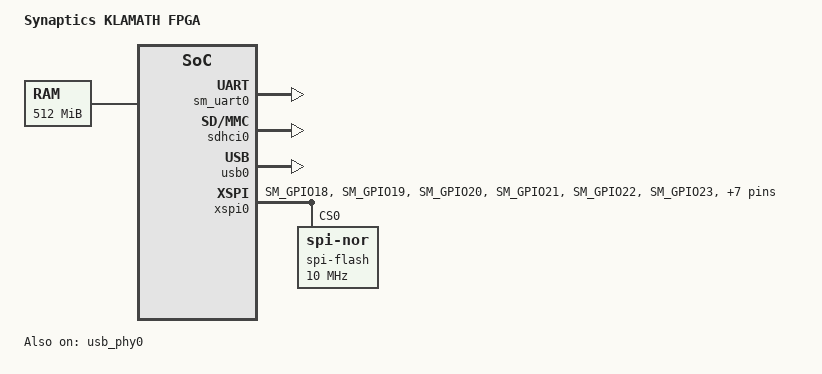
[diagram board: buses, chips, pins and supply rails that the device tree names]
// SPDX-License-Identifier: GPL-2.0+
/*
 * Copyright (C) 2016~2023 Synaptics Incorporated. All rights reserved.
 *
 * This program is free software; you can redistribute it and/or modify
 * it under the terms of the GNU General Public License version 2 or
 * later as published by the Free Software Foundation.
 *
 * INFORMATION CONTAINED IN THIS DOCUMENT IS PROVIDED "AS-IS," AND
 * SYNAPTICS EXPRESSLY DISCLAIMS ALL EXPRESS AND IMPLIED WARRANTIES,
 * INCLUDING ANY IMPLIED WARRANTIES OF MERCHANTABILITY AND FITNESS FOR
 * A PARTICULAR PURPOSE, AND ANY WARRANTIES OF NON-INFRINGEMENT OF ANY
 * INTELLECTUAL PROPERTY RIGHTS. IN NO EVENT SHALL SYNAPTICS BE LIABLE
 * FOR ANY DIRECT, INDIRECT, INCIDENTAL, SPECIAL, PUNITIVE, OR
 * CONSEQUENTIAL DAMAGES ARISING OUT OF OR IN CONNECTION WITH THE USE
 * OF THE INFORMATION CONTAINED IN THIS DOCUMENT, HOWEVER CAUSED AND
 * BASED ON ANY THEORY OF LIABILITY, WHETHER IN AN ACTION OF CONTRACT,
 * NEGLIGENCE OR OTHER TORTIOUS ACTION, AND EVEN IF SYNAPTICS WAS
 * ADVISED OF THE POSSIBILITY OF SUCH DAMAGE. IF A TRIBUNAL OF
 * COMPETENT JURISDICTION DOES NOT PERMIT THE DISCLAIMER OF DIRECT
 * DAMAGES OR ANY OTHER DAMAGES, SYNAPTICS' TOTAL CUMULATIVE LIABILITY
 * TO ANY PARTY SHALL NOT EXCEED ONE HUNDRED U.S. DOLLARS.
 */

/dts-v1/;

#include "klamath.dtsi"
#include <dt-bindings/gpio/gpio.h>

/ {
	model = "Synaptics KLAMATH FPGA";
	compatible = "Synaptics,klamath", "Synaptics,asserial";

	memory {
		device_type = "memory";
		reg = <0 0 0 0x20000000>;
	};

	chosen {
		stdout-path = &sm_uart0;
	};
};

&pinctrl {
	mdio_pmux: mdio-pmux {
		groups = "GPIO31", "GPIO32";
		function = "rgmii";
	};

	eth0_pmux: eth0-pmux {
		groups = "GPIO33", "GPIO34", "GPIO37", "GPIO38", "GPIO41", "GPIO43", "GPIO45";
		function = "rmii1";
	};

	sd0_pmux: sd0-pmux {
		groups = "GPIO12", "GPIO22", "GPIO46", "GPIO47";
		function = "sdio1";
	};
};

&sysmgr_pinctrl {
	xspi0_pmux: xspi0-pmux {
		groups = "SM_GPIO18", "SM_GPIO19", "SM_GPIO20", "SM_GPIO21",
				 "SM_GPIO22", "SM_GPIO23", "SM_GPIO24", "SM_GPIO25",
				 "SM_GPIO26", "SM_GPIO27", "SM_GPIO28", "SM_GPIO29",
				 "SM_GPIO30";
		function = "xspi";
	};
};

&uartclk {
		clock-frequency = <48000000>;
};

&sm_uart0 {
	status = "okay";
};

&sdhci0 {
	status = "okay";
	mmc-ddr-1_8v;
	mmc-hs200-1_8v;
	mmc-hs400-1_8v;
	fixed-voltage;
};

/*
&sdhci1 {
	status = "okay";
	pinctrl-0 = <&sd0_pmux>;
	pinctrl-names = "default";
	broken-cd;
	no-mmc;
	no-sdio;
	no-1-8-v;
};
*/

&usb_phy0 {
	status = "okay";
};

&usb0 {
	status = "okay";
};

&xspi0 {
	status = "okay";
	pinctrl-0 = <&xspi0_pmux>;
	pinctrl-names = "default";

	spi-flash@0 {
		#address-cells = <1>;
		#size-cells = <1>;
		compatible = "jedec,spi-nor";
		//compatible = "spi-nand";
		reg = <0>;
		spi-max-frequency = <10000000>;
	};
};
